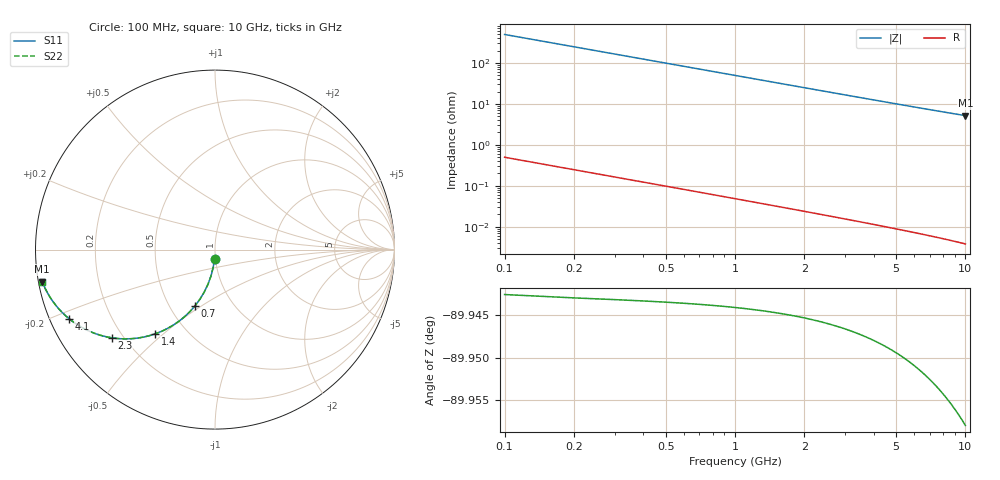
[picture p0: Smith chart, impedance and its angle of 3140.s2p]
# Hz S RI R 50.00
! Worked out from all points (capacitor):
!   100 points, 100 MHz to 10 GHz, reference 50 ohm
!   read as one part in shunt: C = 3.21 pF near 100 MHz
!   lowest |Z| = 5.16 ohm at 10 GHz (marker M1)
!   S11 on the Smith chart (normalised r, x): 100 MHz: 0.99, -0.10; 700 MHz: 0.67, -0.47; 1.4 GHz: 0.33, -0.47; 2.3 GHz: 0.16, -0.36; 4.1 GHz: 0.06, -0.23; 10 GHz: 0.01, -0.09
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1e8  -0.00254 -0.0502  0.9974 -0.0504  0.9974 -0.0504  -0.00254 -0.0502
2e8  -0.0101 -0.0997  0.9898 -0.1001  0.9898 -0.1001  -0.0101 -0.0997
3e8  -0.0225 -0.1477  0.9774 -0.1483  0.9774 -0.1483  -0.0225 -0.1477
4e8  -0.0393 -0.1935  0.9606 -0.1943  0.9606 -0.1943  -0.0393 -0.1935
5e8  -0.06 -0.2366  0.9399 -0.2376  0.9399 -0.2376  -0.06 -0.2366
6e8  -0.0842 -0.2766  0.9157 -0.2778  0.9157 -0.2778  -0.0842 -0.2766
7e8  -0.1111 -0.3132  0.8887 -0.3146  0.8887 -0.3146  -0.1111 -0.3132
8e8  -0.1404 -0.3461  0.8595 -0.3477  0.8595 -0.3477  -0.1404 -0.3461
1e9  -0.2032 -0.4009  0.7967 -0.4029  0.7967 -0.4029  -0.2032 -0.4009
1.2e9  -0.2685 -0.4415  0.7314 -0.4439  0.7314 -0.4439  -0.2685 -0.4415
1.4e9  -0.3331 -0.4694  0.6668 -0.4723  0.6668 -0.4723  -0.3331 -0.4694
1.6e9  -0.3947 -0.4866  0.6051 -0.49  0.6051 -0.49  -0.3947 -0.4866
1.8e9  -0.4521 -0.4953  0.5477 -0.4991  0.5477 -0.4991  -0.4521 -0.4953
2.3e9  -0.5739 -0.4916  0.426 -0.4964  0.426 -0.4964  -0.5739 -0.4916
2.8e9  -0.6662 -0.4681  0.3336 -0.4739  0.3336 -0.4739  -0.6662 -0.4681
3.4e9  -0.7464 -0.431  0.2535 -0.438  0.2535 -0.438  -0.7464 -0.431
4.1e9  -0.8107 -0.3869  0.1892 -0.3955  0.1892 -0.3955  -0.8107 -0.3869
5.1e9  -0.8689 -0.3315  0.1309 -0.3422  0.1309 -0.3422  -0.8689 -0.3315
5.8e9  -0.8957 -0.299  0.1041 -0.3111  0.1041 -0.3111  -0.8957 -0.299
6.7e9  -0.9198 -0.2638  0.0799 -0.2779  0.0799 -0.2779  -0.9198 -0.2638
8.4e9  -0.9477 -0.2129  0.052 -0.2308  0.052 -0.2308  -0.9477 -0.2129
1e10  -0.9627 -0.1778  0.037 -0.1992  0.037 -0.1992  -0.9627 -0.1778
